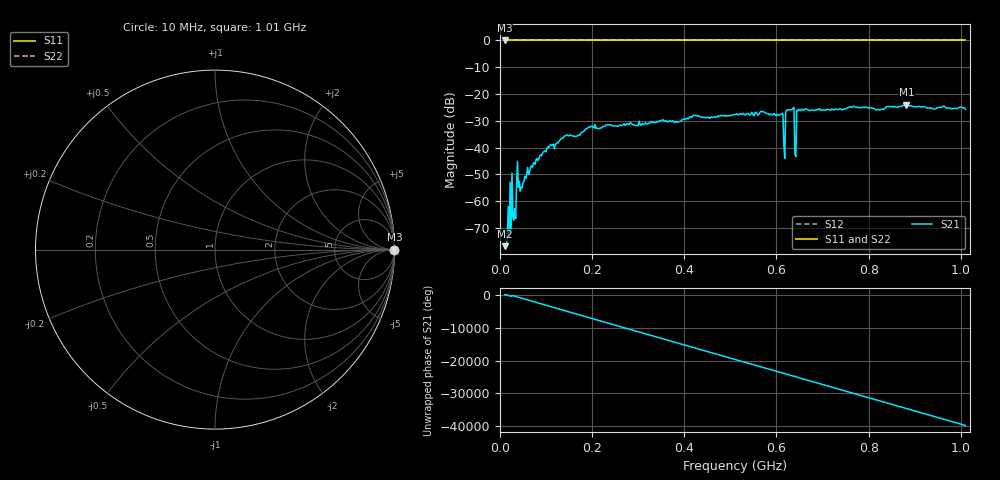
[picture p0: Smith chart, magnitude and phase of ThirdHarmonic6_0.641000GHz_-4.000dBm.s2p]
! 8/15/2025 9:12:20 PM
! C:\ANRITSUVNA\TEMP\TEMP.S2P
! CHANNEL.1
! TR.MEASUREMENT
! RAW.DATA
! RF.CORRECTION.OFF
! AVERAGING.OFF
! IF.BANDWIDTH: 5KHZ
! SWEEPTYPE:  FREQ.SWEEP(Linear)
! Reference Plane Port Info
! PORT:  PORT1  PORT2
! DISTANCE:  0  m  0  m
! TIME:  0  s  0  s
! PHASE.OFFSET:  0  deg.  0  deg.
! LOSS:  0  dB  0  dB
! REF.LOSS:  0  dB  0  dB
! REF.FREQ:  0  Hz  0  Hz
! Power Info
! POWER:  -20  dBm  -20  dBm
! EFF.POWER:  -20  dBm  -20  dBm
! SOURCE.ATTEN:  0  dB  0  dB
! TEST.ATTEN:  0  dB  0  dB
# GHZ S RI R 50.0
! FREQ.GHZ  S11RE  S11IM  S21RE  S21IM  S12RE  S12IM  S22RE  S22IM
!; PortSelection: Port_12
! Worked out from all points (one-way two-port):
!   501 points, 10 MHz to 1.01 GHz, reference 50 ohm
!   highest |S21| = -23.98 dB at 882 MHz (marker M1); lowest = -76.8 dB at 10 MHz (marker M2)
!   lowest |S11| = 0.0 dB at 10 MHz (marker M3)
!   |S11| at or under -10 dB: nowhere
!   |S22| runs from 0.0 to 0.0 dB; largest |S21 - S12| = 1.1
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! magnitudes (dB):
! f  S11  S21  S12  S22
! 10 MHz  0.0  -76.8  0.0  0.0
! 16 MHz  0.0  -72.2  0.0  0.0
! 22 MHz  0.0  -52.9  0.0  0.0
! 32 MHz  0.0  -62.8  0.0  0.0
! 40 MHz  0.0  -54.8  0.0  0.0
! 48 MHz  0.0  -55.0  0.0  0.0
! 106 MHz  0.0  -39.9  0.0  0.0
! 178 MHz  0.0  -34.4  0.0  0.0
! 344 MHz  0.0  -30.4  0.0  0.0
! 510 MHz  0.0  -27.7  0.0  0.0
! 610 MHz  0.0  -27.5  0.0  0.0
! 614 MHz  0.0  -27.5  0.0  0.0
! 620 MHz  0.0  -26.6  0.0  0.0
! 624 MHz  0.0  -25.9  0.0  0.0
! 634 MHz  0.0  -25.7  0.0  0.0
! 638 MHz  0.0  -25.0  0.0  0.0
! 644 MHz  0.0  -26.0  0.0  0.0
! 648 MHz  0.0  -25.8  0.0  0.0
! 678 MHz  0.0  -26.0  0.0  0.0
! 844 MHz  0.0  -24.7  0.0  0.0
! 882 MHz  0.0  -24.0  0.0  0.0
! 1.01 GHz  0.0  -25.7  0.0  0.0
